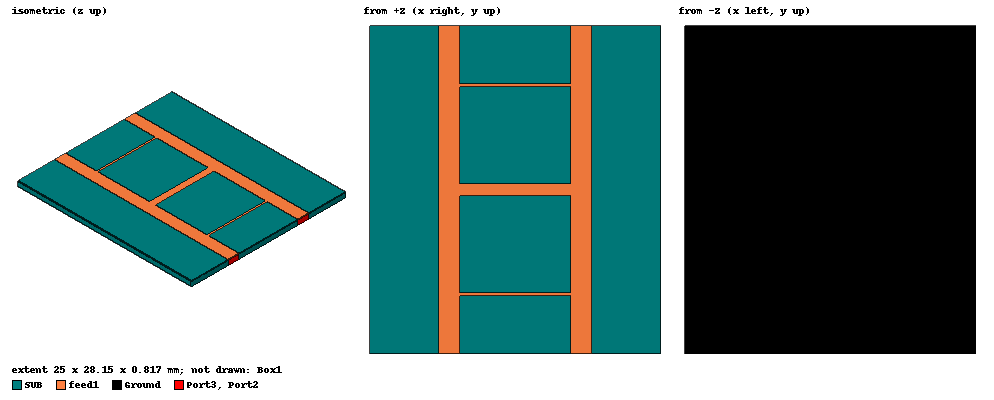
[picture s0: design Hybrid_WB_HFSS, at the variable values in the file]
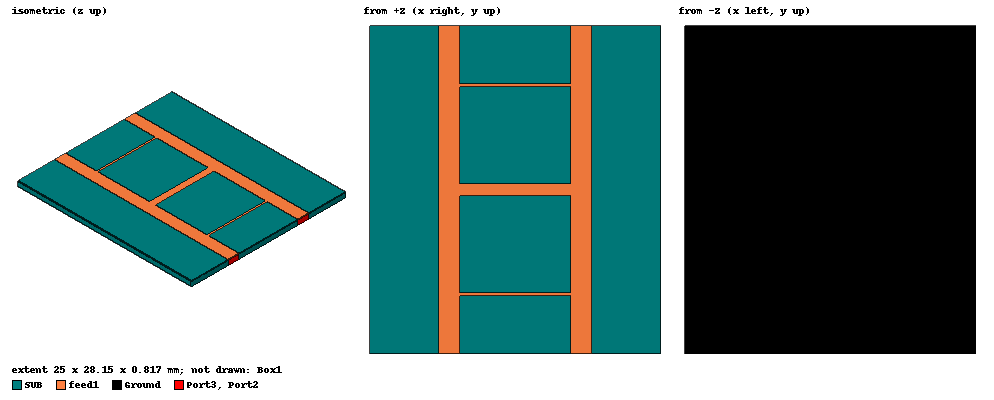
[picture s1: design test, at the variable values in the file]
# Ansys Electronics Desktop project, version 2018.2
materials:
  copper: permeability=0.999991 conductivity=58000000
  FR4_epoxy: permittivity=4.4 dielectric_loss_tangent=0.02
  Rogers RO4003 (tm): permittivity=3.55 dielectric_loss_tangent=0.0027
  vacuum: permittivity=1

design Hybrid_WB_HFSS (HFSS, DrivenModal, model units mm)
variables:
  W = 25mm
  L = 2*L_feed+2*L_50+W_120
  H = 0.8mm
  L_feed = 5mm
  W_50 = 1.76772mm  # optimise 1.764mm..1.767mm
  L_50 = 8.95112mm  # optimise 7mm..12mm
  W_120 = 0.2517mm  # optimise 0.24mm..0.26mm
  L_120 = 9.53mm  # optimise 7mm..12mm
  W_70 = 0.95079mm  # optimise 0.94mm..0.96mm
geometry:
  SUB [Rogers RO4003 (tm)] = box(corner=(0mm, 0mm, 0mm), size=(W, L, H))
  Ground [Rogers RO4003 (tm)] = object_from(SUB.face(-z))
  feed1 [copper] = rectangle(corner=(W/2-L_120/2, 0mm, H), x_size=-W_50, y_size=L_feed+W_120/2)
  feed4 = rectangle(corner=(W/2+L_120/2, 0mm, H), x_size=W_50, y_size=L_feed+W_120/2)
  parallel1 = rectangle(corner=(W/2-L_120/2, L_feed, H), x_size=L_120, y_size=W_120)
  series1_1 = rectangle(corner=(W/2-L_120/2, L_feed+W_120/2, H), x_size=-W_50, y_size=L_50)
  series1_2 = rectangle(corner=(W/2+L_120/2, L_feed+W_120/2, H), x_size=W_50, y_size=L_50)
  parallel2 = rectangle(corner=(W/2-L_120/2, L_feed+L_50+W_120/2-W_70/2, H), x_size=L_120, y_size=W_70)
  feed2 = rectangle(corner=(W/2-L_120/2, L, H), x_size=-W_50, y_size=-L_feed-W_120/2)
  feed3 = rectangle(corner=(W/2+L_120/2, L, H), x_size=W_50, y_size=-L_feed-W_120/2)
  Port1 = rectangle(corner=(W/2-L_120/2, 0mm, H), z_size=-H, x_size=-W_50)
  Port4 = rectangle(corner=(W/2+L_120/2, 0mm, H), z_size=-H, x_size=W_50)
  Port3 = rectangle(corner=(W/2+L_120/2, L, H), z_size=-H, x_size=W_50)
  Port2 = rectangle(corner=(W/2-L_120/2, L, H), z_size=-H, x_size=-W_50)
  Box1 [vacuum] = box(corner=(-10mm, -10mm, -10mm), size=(20mm+W, 20mm+L, 20mm))
  series2_1 = rectangle(corner=(W/2-L_120/2, L_feed+W_120/2+L_50, H), x_size=-W_50, y_size=L_50)
  series2_2 = rectangle(corner=(W/2+L_120/2, L_feed+W_120/2+L_50, H), x_size=W_50, y_size=L_50)
  parallel3 = rectangle(corner=(W/2-L_120/2, L_feed+2*L_50, H), x_size=L_120, y_size=W_120)
  feed1.unite(feed2, feed3, feed4, parallel1, parallel2, parallel3, series1_1, series1_2, series2_1, series2_2)
  feed1.thicken(0.017mm)
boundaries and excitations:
  PerfE1: Perfect E Objects=Ground
  Rad1: Radiation Objects=Box1
  1: Lumped Port Objects=Port1 Modes{Mode1{IntLine{middle of Port1.edge(z opposite corner) -> middle of Port1.edge(z at corner)} CharImp=Zpi RenormImp=50ohm}} Impedance=50ohm
  4: Lumped Port Objects=Port4 Modes{Mode1{IntLine{middle of Port4.edge(z opposite corner) -> middle of Port4.edge(z at corner)} CharImp=Zpi RenormImp=50ohm}} Impedance=50ohm
  2: Lumped Port Objects=Port2 Modes{Mode1{IntLine{middle of Port2.edge(z opposite corner) -> middle of Port2.edge(z at corner)} CharImp=Zpi RenormImp=50ohm}} Impedance=50ohm
  3: Lumped Port Objects=Port3 Modes{Mode1{IntLine{middle of Port3.edge(z opposite corner) -> middle of Port3.edge(z at corner)} CharImp=Zpi RenormImp=50ohm}} Impedance=50ohm
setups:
  Setup1: HfssDriven Frequency=5GHz MaxDeltaS=0.02 MaximumPasses=12 MinimumPasses=1 MinimumConvergedPasses=1 PercentRefinement=30 BasisOrder=1 PortAccuracy=2
    sweep Sweep: 3GHz to 7GHz step 0.01GHz; Type=Fast SaveFields
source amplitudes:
  1:1: 1W 0deg
  4:1, 2:1, 3:1: 0W 0deg
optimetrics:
  OptimizationSetup1: Optimization disabled Optimizer="Genetic Algorithm" AnalysisStopOptions{StopForNumIteration MaxNumIteration=10000 MinNumIteration=10} CostFuncNormType=L2 GAOptions{NumParents=30 ProportionOfParentSelProb=10 MatingPoolSize=30 NumChildren=30 NumParetoSurvivors=10 PopulationSize=30 RouletteSurvivorSelection ProportionOfSurvivorSelProb=10 CrossoverScheme=3 CrossoverProbability=1 VariableCrossoverProbability=1 VariableExchangeProbability=0 MuCross=1 GammaCross=0.5 NumMatingParents=2 MutationDistribution=2 UniformMutationProbability=0 MutationProbability=1 VariableMutationProbability=1 SigmaMut=0.05 SimplexMirrorProbability=0.1 MuMut=10} Acceptable_Cost=0 Noise=0.0001 UpdateDesignWhenDone
    goal dB(S(1,1)) <= -40 weight 1 on Setup1 : Sweep at Freq 5GHz
    goal dB(S(2,1)) >= -3.5 weight 1 on Setup1 : Sweep at Freq 4.75GHz to 5.25GHz
    goal dB(S(3,1)) >= -3.5 weight 1 on Setup1 : Sweep at Freq 4.75GHz to 5.25GHz
    goal dB(S(4,1)) <= -40 weight 1 on Setup1 : Sweep at Freq 5GHz
    goal PortGaindiff <= 0.7 weight 1 on Setup1 : Sweep at Freq 4.5GHz to 5.5GHz
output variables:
  PortGaindiff = abs(dB(S(2,1))-dB(S(3,1)))
  Phase_diff = abs((mod(abs(cang_rad(S(2,1))-cang_rad(S(3,1))),pi)-(pi/2))*180/pi)
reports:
  S-Parameters: dB(S(1,1)), dB(S(2,1)), dB(S(3,1)), dB(S(4,1)) vs Freq on Setup1 : Sweep; markers MX1 at x=4.9985019e+09, MY1 at y=-25
  Port Gain Difference: PortGaindiff vs Freq on Setup1 : Sweep; markers MX1 at x=5.0014695e+09, MY1 at y=0.5
  Phase Error: Phase_diff vs Freq on Setup1 : Sweep; markers MY1 at y=2

design test (HFSS, DrivenModal, model units mm)
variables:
  W = 25mm
  L = 2*L_feed+2*L_50+W_120
  H = 0.8mm
  L_feed = 5mm
  W_50 = 1.76772mm  # optimise 1.764mm..1.767mm
  W_35 = 2.973mm
  L_35 = 9.0371mm
  L_50 = 8.95112mm  # optimise 7mm..12mm
  W_120 = 0.2517mm  # optimise 0.24mm..0.26mm
  L_120 = 9.53mm  # optimise 7mm..12mm
  W_70 = 0.95079mm  # optimise 0.94mm..0.96mm
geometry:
  SUB [Rogers RO4003 (tm)] = box(corner=(0mm, 0mm, 0mm), size=(W, L, H))
  Ground [Rogers RO4003 (tm)] = object_from(SUB.face(-z))
  feed1 [copper] = rectangle(corner=(W/2-L_120/2, 0mm, H), x_size=-W_50, y_size=L_feed+W_120/2)
  feed4 = rectangle(corner=(W/2+L_120/2, 0mm, H), x_size=W_50, y_size=L_feed+W_120/2)
  parallel1 = rectangle(corner=(W/2-L_120/2, L_feed, H), x_size=L_120, y_size=W_120)
  series1_1 = rectangle(corner=(W/2-L_120/2, L_feed+W_120/2, H), x_size=-W_50, y_size=L_50)
  series1_2 = rectangle(corner=(W/2+L_120/2, L_feed+W_120/2, H), x_size=W_50, y_size=L_50)
  parallel2 = rectangle(corner=(W/2-L_120/2, L_feed+L_50+W_120/2-W_70/2, H), x_size=L_120, y_size=W_70)
  feed2 = rectangle(corner=(W/2-L_120/2, L, H), x_size=-W_50, y_size=-L_feed-W_120/2)
  feed3 = rectangle(corner=(W/2+L_120/2, L, H), x_size=W_50, y_size=-L_feed-W_120/2)
  Port1 = rectangle(corner=(W/2-L_120/2, 0mm, H), z_size=-H, x_size=-W_50)
  Port4 = rectangle(corner=(W/2+L_120/2, 0mm, H), z_size=-H, x_size=W_50)
  Port3 = rectangle(corner=(W/2+L_120/2, L, H), z_size=-H, x_size=W_50)
  Port2 = rectangle(corner=(W/2-L_120/2, L, H), z_size=-H, x_size=-W_50)
  Box1 [vacuum] = box(corner=(-10mm, -10mm, -10mm), size=(20mm+W, 20mm+L, 20mm))
  series2_1 = rectangle(corner=(W/2-L_120/2, L_feed+W_120/2+L_50, H), x_size=-W_50, y_size=L_50)
  series2_2 = rectangle(corner=(W/2+L_120/2, L_feed+W_120/2+L_50, H), x_size=W_50, y_size=L_50)
  parallel3 = rectangle(corner=(W/2-L_120/2, L_feed+2*L_50, H), x_size=L_120, y_size=W_120)
  feed1.unite(feed2, feed3, feed4, parallel1, parallel2, parallel3, series1_1, series1_2, series2_1, series2_2)
  feed1.thicken(0.017mm)
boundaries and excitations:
  PerfE1: Perfect E Objects=Ground
  Rad1: Radiation Objects=Box1
  1: Lumped Port Objects=Port1 Modes{Mode1{IntLine{middle of Port1.edge(z opposite corner) -> middle of Port1.edge(z at corner)} CharImp=Zpi RenormImp=50ohm}} Impedance=50ohm
  4: Lumped Port Objects=Port4 Modes{Mode1{IntLine{middle of Port4.edge(z opposite corner) -> middle of Port4.edge(z at corner)} CharImp=Zpi RenormImp=50ohm}} Impedance=50ohm
  2: Lumped Port Objects=Port2 Modes{Mode1{IntLine{middle of Port2.edge(z opposite corner) -> middle of Port2.edge(z at corner)} CharImp=Zpi RenormImp=50ohm}} Impedance=50ohm
  3: Lumped Port Objects=Port3 Modes{Mode1{IntLine{middle of Port3.edge(z opposite corner) -> middle of Port3.edge(z at corner)} CharImp=Zpi RenormImp=50ohm}} Impedance=50ohm
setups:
  Setup1: HfssDriven Frequency=5GHz MaxDeltaS=0.02 MaximumPasses=12 MinimumPasses=1 MinimumConvergedPasses=1 PercentRefinement=30 BasisOrder=1 PortAccuracy=2
    sweep Sweep: 3GHz to 7GHz step 0.01GHz; Type=Fast SaveFields
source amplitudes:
  1:1: 1W 0deg
  4:1, 2:1, 3:1: 0W 0deg
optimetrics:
  OptimizationSetup1: Optimization disabled Optimizer="Genetic Algorithm" AnalysisStopOptions{StopForNumIteration MaxNumIteration=10000 MinNumIteration=10} CostFuncNormType=L2 GAOptions{NumParents=30 ProportionOfParentSelProb=10 MatingPoolSize=30 NumChildren=30 NumParetoSurvivors=10 PopulationSize=30 RouletteSurvivorSelection ProportionOfSurvivorSelProb=10 CrossoverScheme=3 CrossoverProbability=1 VariableCrossoverProbability=1 VariableExchangeProbability=0 MuCross=1 GammaCross=0.5 NumMatingParents=2 MutationDistribution=2 UniformMutationProbability=0 MutationProbability=1 VariableMutationProbability=1 SigmaMut=0.05 SimplexMirrorProbability=0.1 MuMut=10} Acceptable_Cost=0 Noise=0.0001 UpdateDesignWhenDone
    goal dB(S(1,1)) <= -40 weight 1 on Setup1 : Sweep at Freq 5GHz
    goal dB(S(2,1)) >= -3.5 weight 1 on Setup1 : Sweep at Freq 4.75GHz to 5.25GHz
    goal dB(S(3,1)) >= -3.5 weight 1 on Setup1 : Sweep at Freq 4.75GHz to 5.25GHz
    goal dB(S(4,1)) <= -40 weight 1 on Setup1 : Sweep at Freq 5GHz
    goal PortGaindiff <= 0.7 weight 1 on Setup1 : Sweep at Freq 4.5GHz to 5.5GHz
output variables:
  PortGaindiff = abs(dB(S(2,1))-dB(S(3,1)))
  Phase_diff = abs((mod(abs(cang_rad(S(2,1))-cang_rad(S(3,1))),pi)-(pi/2))*180/pi)
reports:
  S-Parameters: dB(S(1,1)), dB(S(2,1)), dB(S(3,1)), dB(S(4,1)) vs Freq on Setup1 : Sweep; markers MX1 at x=5.0014981e+09, MY1 at y=-14
  Port Gain Difference: PortGaindiff vs Freq on Setup1 : Sweep; markers MX1 at x=5.0014695e+09, MY1 at y=0.5
  Output Variables Plot 1: Phase_diff vs Freq on Setup1 : Sweep; markers MY1 at y=2

design Hybrid_WB (Circuit)
options: SParamCircuitDef IntegrationMethod=FFT
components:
  A2 = MS_TRL(W=1.76772mm P=5mm)
  A1 = MS_TRL(W=1.76772mm P=5mm)
  A10 = MS_TRL(W=0.24287mm P=9.55345mm)
  A11 = MS_TRL(W=1.76772mm P=8.95112mm)
  A4 = MS_TRL(W=1.76772mm P=8.95112mm)
  A8 = MS_TRL(W=0.95079mm P=9.55345mm)
  A9 = MS_TRL(W=1.76772mm P=8.95112mm)
  A12 = MS_TRL(W=1.76772mm P=8.95112mm)
  A15 = MS_TRL(W=0.24287mm P=9.55345mm)
  A16 = MS_TRL(W=1.76772mm P=5mm)
  A17 = MS_TRL(W=1.76772mm P=5mm)
  A53 = MS_TEEC(W1=1.76772mm W2=1.76772mm W3=0.24287mm)
  A54 = MS_TEEC(W1=1.76772mm W2=1.76772mm W3=0.95079mm)
  A55 = MS_TEEC(W1=1.76772mm W2=1.76772mm W3=0.24287mm)
  A56 = MS_TEEC(W2=1.76772mm W1=1.76772mm W3=0.24287mm)
  A3 = MS_TEEC(W1=1.76772mm W2=1.76772mm W3=0.95079mm)
  A5 = MS_TEEC(W1=1.76772mm W2=1.76772mm W3=0.24287mm)
  port Port1 pnum=1 rz=50ohm iz=0ohm noisetemp=16.85 noisetemporig=16.85cel
  port Port2 pnum=2 rz=50ohm iz=0ohm noisetemp=16.85 noisetemporig=16.85cel
  port Port3 pnum=3 rz=50ohm iz=0ohm noisetemp=16.85 noisetemporig=16.85cel
  port Port4 pnum=4 rz=50ohm iz=0ohm noisetemp=16.85 noisetemporig=16.85cel
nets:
  net_29: A2.1, A53.0
  net_30: A11.0, A53.1
  net_31: A10.1, A53.2
  net_32: A54.0, A11.1
  net_33: A54.1, A9.0
  net_34: A8.1, A54.2
  net_35: A9.1, A55.0
  net_36: A16.0, A55.1
  net_37: A15.1, A55.2
  net_38: A4.0, A56.0
  net_39: A56.1, A1.1
  net_40: A10.0, A56.2
  net_41: A3.0, A12.0
  net_42: A3.1, A4.1
  net_43: A8.0, A3.2
  net_44: A5.0, A17.0
  net_45: A5.1, A12.1
  net_46: A5.2, A15.0
  Port1: A2.0
  Port2: A16.1
  Port3: A17.1
  Port4: A1.0
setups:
  LinearFrequency: LinearFrequencyData(false, 0.1, false, "", false) SweepDefinition{Variable=F Data="LIN 3GHz 7GHz 0.005GHz"}
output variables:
  phase_diff = abs((mod(abs(cang_rad(S(2,1))-cang_rad(S(3,1))),pi)-(pi/2))*180/pi)
  PortGainDiff = abs(dB(S(Port2,Port1))-dB(S(Port3,Port1)))
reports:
  S-Parameters: dB(S(Port1,Port1)), dB(S(Port2,Port1)), dB(S(Port3,Port1)), dB(S(Port4,Port1)) vs F on LinearFrequency : LinearFrequency; markers MX1 at x=5.0014981e+09, MY1 at y=-14
  Port Gain Difference: PortGainDiff vs F on LinearFrequency : LinearFrequency; markers m1 at 5GHz, MY1 at y=0.5
  Phase Error: phase_diff vs F on LinearFrequency : LinearFrequency; markers m1 at 5GHz, MY1 at y=2
